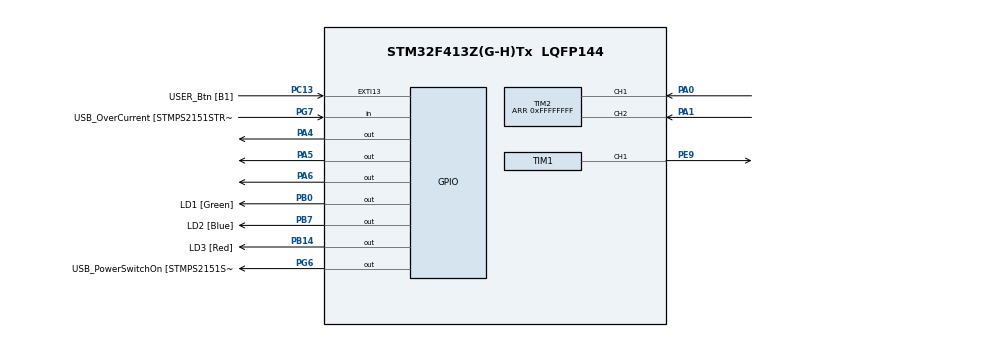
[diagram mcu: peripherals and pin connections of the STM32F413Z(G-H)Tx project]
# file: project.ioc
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Mcu.Family=STM32F4
Mcu.Name=STM32F413Z(G-H)Tx
Mcu.Package=LQFP144
NVIC.PriorityGroup=NVIC_PRIORITYGROUP_4
NVIC.TIM3_IRQn=true\:0\:0\:false\:false\:true\:true\:true
NVIC.TIM4_IRQn=true\:1\:0\:true\:false\:true\:true\:true
PA0.Signal=S_TIM2_CH1_ETR
PA1.Signal=S_TIM2_CH2
PA10.GPIO_Label=USB_ID
PA10.Signal=USB_OTG_FS_ID
PA11.GPIO_Label=USB_DM
PA11.Signal=USB_OTG_FS_DM
PA12.GPIO_Label=USB_DP
PA12.Signal=USB_OTG_FS_DP
PA13.GPIO_Label=TMS
PA13.Mode=Trace_Asynchronous_SW
PA13.Signal=SYS_JTMS-SWDIO
PA14.GPIO_Label=TCK
PA14.Mode=Trace_Asynchronous_SW
PA14.Signal=SYS_JTCK-SWCLK
PA4.Signal=GPIO_Output
PA5.Signal=GPIO_Output
PA6.Signal=GPIO_Output
PA8.GPIO_Label=USB_SOF [TP1]
PA8.Signal=USB_OTG_FS_SOF
PA9.GPIO_Label=USB_VBUS
PA9.Signal=USB_OTG_FS_VBUS
PB0.GPIO_Label=LD1 [Green]
PB0.Signal=GPIO_Output
PB14.GPIO_Label=LD3 [Red]
PB14.Signal=GPIO_Output
PB3.GPIO_Label=SWO
PB3.Mode=Trace_Asynchronous_SW
PB3.Signal=SYS_JTDO-SWO
PB7.GPIO_Label=LD2 [Blue]
PB7.Signal=GPIO_Output
PC13.GPIO_Label=USER_Btn [B1]
PC13.Signal=GPXTI13
PC14-OSC32_IN.Signal=RCC_OSC32_IN
PC15-OSC32_OUT.Signal=RCC_OSC32_OUT
PD8.GPIO_Label=STLK_RX [STM32F103CBT6_PA3]
PD8.Signal=USART3_TX
PD9.GPIO_Label=STLK_TX [STM32F103CBT6_PA2]
PD9.Signal=USART3_RX
PE9.Signal=S_TIM1_CH1
PG6.GPIO_Label=USB_PowerSwitchOn [STMPS2151STR_EN]
PG6.Signal=GPIO_Output
PG7.GPIO_Label=USB_OverCurrent [STMPS2151STR_FAULT]
PG7.Signal=GPIO_Input
PH0\ -\ OSC_IN.GPIO_Label=MCO
PH0\ -\ OSC_IN.Mode=HSE-External-Oscillator
PH0\ -\ OSC_IN.Signal=RCC_OSC_IN
PH1\ -\ OSC_OUT.Mode=HSE-External-Oscillator
PH1\ -\ OSC_OUT.Signal=RCC_OSC_OUT
ProjectManager.HeapSize=0x2000
ProjectManager.StackSize=0x4000
ProjectManager.TargetToolchain=EWARM V8.32
RCC.48MHZClocksFreq_Value=24000000
RCC.AHBFreq_Value=100000000
RCC.APB1CLKDivider=RCC_HCLK_DIV2
RCC.APB1Freq_Value=50000000
RCC.APB1TimFreq_Value=100000000
RCC.APB2Freq_Value=100000000
RCC.APB2TimFreq_Value=100000000
RCC.CortexFreq_Value=100000000
RCC.HCLKFreq_Value=100000000
RCC.HSE_VALUE=8000000
RCC.HSI_VALUE=16000000
RCC.PLLM=4
RCC.PLLMUL=RCC_PLL_MUL9
RCC.PLLN=100
RCC.PLLSourceVirtual=RCC_PLLSOURCE_HSE
RCC.PRESCALERUSB=RCC_USBCLKSOURCE_PLL_DIV1_5
RCC.SYSCLKFreq_VALUE=100000000
RCC.SYSCLKSource=RCC_SYSCLKSOURCE_PLLCLK
RCC.SYSCLKSourceVirtual=RCC_SYSCLKSOURCE_PLLCLK
RCC.USBFreq_Value=100000000
RCC.VCOOutputFreq_Value=200000000
SH.S_TIM1_CH1.0=TIM1_CH1,PWM Generation1 CH1
SH.S_TIM2_CH1_ETR.0=TIM2_CH1,Encoder_Interface
SH.S_TIM2_CH2.0=TIM2_CH2,Encoder_Interface
TIM1.Channel-PWM\ Generation1\ CH1=TIM_CHANNEL_1
TIM1.Period=9999
TIM1.Prescaler=199
TIM2.EncoderMode=TIM_ENCODERMODE_TI12
TIM2.IC1Polarity=TIM_ICPOLARITY_FALLING
TIM2.Period=0xFFFFFFFF
TIM3.AutoReloadPreload=TIM_AUTORELOAD_PRELOAD_ENABLE
TIM3.Period=99
TIM3.Prescaler=99
TIM4.AutoReloadPreload=TIM_AUTORELOAD_PRELOAD_ENABLE
TIM4.Period=99
TIM4.Prescaler=999
VP_TIM3_VS_ClockSourceINT.Mode=Internal
VP_TIM4_VS_ClockSourceINT.Mode=Internal
board=NUCLEO-F413ZH

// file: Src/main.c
/* USER CODE BEGIN Header */
/**
  ******************************************************************************
  * @file           : main.c
  * @brief          : Main program body
  ******************************************************************************
  * @attention
  *
  * <h2><center>&copy; Copyright (c) 2020 STMicroelectronics.
  * All rights reserved.</center></h2>
  *
  * This software component is licensed by ST under BSD 3-Clause license,
  * the "License"; You may not use this file except in compliance with the
  * License. You may obtain a copy of the License at:
  *                        opensource.org/licenses/BSD-3-Clause
  *
  ******************************************************************************
  */
/* USER CODE END Header */

#include "main.h"

/* USER CODE BEGIN PM */
#define INITIAL_ENCODER_COUNTER 0x8000
/* USER CODE END PM */

/* USER CODE BEGIN PV */
static int64_t ENCODER_VALUE = 0;
/* USER CODE END PV */

void SystemClock_Config(void);
static void MX_GPIO_Init(void);
static void MX_TIM1_Init(void);
static void MX_TIM2_Init(void);
static void MX_TIM3_Init(void);
static void MX_TIM4_Init(void);

int main(void)
{

  /* MCU Configuration--------------------------------------------------------*/

  /* Reset of all peripherals, Initializes the Flash interface and the Systick. */

  LL_APB2_GRP1_EnableClock(LL_APB2_GRP1_PERIPH_SYSCFG);
  LL_APB1_GRP1_EnableClock(LL_APB1_GRP1_PERIPH_PWR);

  NVIC_SetPriorityGrouping(NVIC_PRIORITYGROUP_4);

  /* System interrupt init*/

  /* Configure the system clock */
  SystemClock_Config();

  /* Initialize all configured peripherals */
  MX_GPIO_Init();
  MX_TIM1_Init();
  MX_TIM2_Init();
  MX_TIM3_Init();
  MX_TIM4_Init();

  /* Infinite loop */
  while (1)
  {

    /* USER CODE BEGIN 3 */
    LL_TIM_OC_SetCompareCH1(TIM1, 249);
    LL_mDelay(1000);
    LL_TIM_OC_SetCompareCH1(TIM1, 1199);
    LL_mDelay(1000);
  }
  /* USER CODE END 3 */
}

void SystemClock_Config(void)
{
  LL_FLASH_SetLatency(LL_FLASH_LATENCY_3);

  if(LL_FLASH_GetLatency() != LL_FLASH_LATENCY_3)
  {
  Error_Handler();
  }
  LL_PWR_SetRegulVoltageScaling(LL_PWR_REGU_VOLTAGE_SCALE1);
  LL_RCC_HSE_Enable();

   /* Wait till HSE is ready */
  while(LL_RCC_HSE_IsReady() != 1)
  {

  }
  LL_RCC_PLL_ConfigDomain_SYS(LL_RCC_PLLSOURCE_HSE, LL_RCC_PLLM_DIV_4, 100, LL_RCC_PLLP_DIV_2);
  LL_RCC_PLL_Enable();

   /* Wait till PLL is ready */
  while(LL_RCC_PLL_IsReady() != 1)
  {

  }
  LL_RCC_SetAHBPrescaler(LL_RCC_SYSCLK_DIV_1);
  LL_RCC_SetAPB1Prescaler(LL_RCC_APB1_DIV_2);
  LL_RCC_SetAPB2Prescaler(LL_RCC_APB2_DIV_1);
  LL_RCC_SetSysClkSource(LL_RCC_SYS_CLKSOURCE_PLL);

   /* Wait till System clock is ready */
  while(LL_RCC_GetSysClkSource() != LL_RCC_SYS_CLKSOURCE_STATUS_PLL)
  {

  }
  LL_Init1msTick(100000000);
  LL_SYSTICK_SetClkSource(LL_SYSTICK_CLKSOURCE_HCLK);
  LL_SetSystemCoreClock(100000000);
  LL_RCC_SetTIMPrescaler(LL_RCC_TIM_PRESCALER_TWICE);
}

static void MX_TIM1_Init(void)
{

  LL_TIM_InitTypeDef TIM_InitStruct = {0};
  LL_TIM_OC_InitTypeDef TIM_OC_InitStruct = {0};
  LL_TIM_BDTR_InitTypeDef TIM_BDTRInitStruct = {0};

  LL_GPIO_InitTypeDef GPIO_InitStruct = {0};

  /* Peripheral clock enable */
  LL_APB2_GRP1_EnableClock(LL_APB2_GRP1_PERIPH_TIM1);

  TIM_InitStruct.Prescaler = 199;
  TIM_InitStruct.CounterMode = LL_TIM_COUNTERMODE_UP;
  TIM_InitStruct.Autoreload = 9999;
  TIM_InitStruct.ClockDivision = LL_TIM_CLOCKDIVISION_DIV1;
  TIM_InitStruct.RepetitionCounter = 0;
  LL_TIM_Init(TIM1, &TIM_InitStruct);
  LL_TIM_DisableARRPreload(TIM1);
  LL_TIM_OC_EnablePreload(TIM1, LL_TIM_CHANNEL_CH1);
  TIM_OC_InitStruct.OCMode = LL_TIM_OCMODE_PWM1;
  TIM_OC_InitStruct.OCState = LL_TIM_OCSTATE_DISABLE;
  TIM_OC_InitStruct.OCNState = LL_TIM_OCSTATE_DISABLE;
  TIM_OC_InitStruct.CompareValue = 0;
  TIM_OC_InitStruct.OCPolarity = LL_TIM_OCPOLARITY_HIGH;
  TIM_OC_InitStruct.OCNPolarity = LL_TIM_OCPOLARITY_HIGH;
  TIM_OC_InitStruct.OCIdleState = LL_TIM_OCIDLESTATE_LOW;
  TIM_OC_InitStruct.OCNIdleState = LL_TIM_OCIDLESTATE_LOW;
  LL_TIM_OC_Init(TIM1, LL_TIM_CHANNEL_CH1, &TIM_OC_InitStruct);
  LL_TIM_OC_DisableFast(TIM1, LL_TIM_CHANNEL_CH1);
  LL_TIM_SetTriggerOutput(TIM1, LL_TIM_TRGO_RESET);
  LL_TIM_DisableMasterSlaveMode(TIM1);
  TIM_BDTRInitStruct.OSSRState = LL_TIM_OSSR_DISABLE;
  TIM_BDTRInitStruct.OSSIState = LL_TIM_OSSI_DISABLE;
  TIM_BDTRInitStruct.LockLevel = LL_TIM_LOCKLEVEL_OFF;
  TIM_BDTRInitStruct.DeadTime = 0;
  TIM_BDTRInitStruct.BreakState = LL_TIM_BREAK_DISABLE;
  TIM_BDTRInitStruct.BreakPolarity = LL_TIM_BREAK_POLARITY_HIGH;
  TIM_BDTRInitStruct.AutomaticOutput = LL_TIM_AUTOMATICOUTPUT_DISABLE;
  LL_TIM_BDTR_Init(TIM1, &TIM_BDTRInitStruct);
  /* USER CODE BEGIN TIM1_Init 2 */
  LL_TIM_CC_EnableChannel(TIM1, LL_TIM_CHANNEL_CH1);
  LL_TIM_EnableCounter(TIM1);
  LL_TIM_EnableAllOutputs(TIM1);
  /* USER CODE END TIM1_Init 2 */
  LL_AHB1_GRP1_EnableClock(LL_AHB1_GRP1_PERIPH_GPIOE);
  /**TIM1 GPIO Configuration
  PE9   ------> TIM1_CH1
  */
  GPIO_InitStruct.Pin = LL_GPIO_PIN_9;
  GPIO_InitStruct.Mode = LL_GPIO_MODE_ALTERNATE;
  GPIO_InitStruct.Speed = LL_GPIO_SPEED_FREQ_LOW;
  GPIO_InitStruct.OutputType = LL_GPIO_OUTPUT_PUSHPULL;
  GPIO_InitStruct.Pull = LL_GPIO_PULL_NO;
  GPIO_InitStruct.Alternate = LL_GPIO_AF_1;
  LL_GPIO_Init(GPIOE, &GPIO_InitStruct);

}

static void MX_TIM2_Init(void)
{

  LL_TIM_InitTypeDef TIM_InitStruct = {0};

  LL_GPIO_InitTypeDef GPIO_InitStruct = {0};

  /* Peripheral clock enable */
  LL_APB1_GRP1_EnableClock(LL_APB1_GRP1_PERIPH_TIM2);

  LL_AHB1_GRP1_EnableClock(LL_AHB1_GRP1_PERIPH_GPIOA);
  /**TIM2 GPIO Configuration
  PA0   ------> TIM2_CH1
  PA1   ------> TIM2_CH2
  */
  GPIO_InitStruct.Pin = LL_GPIO_PIN_0|LL_GPIO_PIN_1;
  GPIO_InitStruct.Mode = LL_GPIO_MODE_ALTERNATE;
  GPIO_InitStruct.Speed = LL_GPIO_SPEED_FREQ_LOW;
  GPIO_InitStruct.OutputType = LL_GPIO_OUTPUT_PUSHPULL;
  GPIO_InitStruct.Pull = LL_GPIO_PULL_NO;
  GPIO_InitStruct.Alternate = LL_GPIO_AF_1;
  LL_GPIO_Init(GPIOA, &GPIO_InitStruct);

  LL_TIM_SetEncoderMode(TIM2, LL_TIM_ENCODERMODE_X4_TI12);
  LL_TIM_IC_SetActiveInput(TIM2, LL_TIM_CHANNEL_CH1, LL_TIM_ACTIVEINPUT_DIRECTTI);
  LL_TIM_IC_SetPrescaler(TIM2, LL_TIM_CHANNEL_CH1, LL_TIM_ICPSC_DIV1);
  LL_TIM_IC_SetFilter(TIM2, LL_TIM_CHANNEL_CH1, LL_TIM_IC_FILTER_FDIV1);
  LL_TIM_IC_SetPolarity(TIM2, LL_TIM_CHANNEL_CH1, LL_TIM_IC_POLARITY_FALLING);
  LL_TIM_IC_SetActiveInput(TIM2, LL_TIM_CHANNEL_CH2, LL_TIM_ACTIVEINPUT_DIRECTTI);
  LL_TIM_IC_SetPrescaler(TIM2, LL_TIM_CHANNEL_CH2, LL_TIM_ICPSC_DIV1);
  LL_TIM_IC_SetFilter(TIM2, LL_TIM_CHANNEL_CH2, LL_TIM_IC_FILTER_FDIV1);
  LL_TIM_IC_SetPolarity(TIM2, LL_TIM_CHANNEL_CH2, LL_TIM_IC_POLARITY_RISING);
  TIM_InitStruct.Prescaler = 0;
  TIM_InitStruct.CounterMode = LL_TIM_COUNTERMODE_UP;
  TIM_InitStruct.Autoreload = 0xFFFFFFFF;
  TIM_InitStruct.ClockDivision = LL_TIM_CLOCKDIVISION_DIV1;
  LL_TIM_Init(TIM2, &TIM_InitStruct);
  LL_TIM_DisableARRPreload(TIM2);
  LL_TIM_SetTriggerOutput(TIM2, LL_TIM_TRGO_RESET);
  LL_TIM_DisableMasterSlaveMode(TIM2);
  /* USER CODE BEGIN TIM2_Init 2 */
  LL_TIM_SetCounter(TIM2, INITIAL_ENCODER_COUNTER);
  LL_TIM_EnableCounter(TIM2);
  /* USER CODE END TIM2_Init 2 */

}

static void MX_TIM3_Init(void)
{

  LL_TIM_InitTypeDef TIM_InitStruct = {0};

  /* Peripheral clock enable */
  LL_APB1_GRP1_EnableClock(LL_APB1_GRP1_PERIPH_TIM3);

  /* TIM3 interrupt Init */
  NVIC_SetPriority(TIM3_IRQn, NVIC_EncodePriority(NVIC_GetPriorityGrouping(),0, 0));
  NVIC_EnableIRQ(TIM3_IRQn);

  TIM_InitStruct.Prescaler = 99;
  TIM_InitStruct.CounterMode = LL_TIM_COUNTERMODE_UP;
  TIM_InitStruct.Autoreload = 99;
  TIM_InitStruct.ClockDivision = LL_TIM_CLOCKDIVISION_DIV1;
  LL_TIM_Init(TIM3, &TIM_InitStruct);
  LL_TIM_EnableARRPreload(TIM3);
  LL_TIM_SetClockSource(TIM3, LL_TIM_CLOCKSOURCE_INTERNAL);
  LL_TIM_SetTriggerOutput(TIM3, LL_TIM_TRGO_RESET);
  LL_TIM_DisableMasterSlaveMode(TIM3);
  /* USER CODE BEGIN TIM3_Init 2 */
  LL_TIM_EnableCounter(TIM3);
  LL_TIM_EnableIT_UPDATE(TIM3);
  /* USER CODE END TIM3_Init 2 */

}

static void MX_TIM4_Init(void)
{

  LL_TIM_InitTypeDef TIM_InitStruct = {0};

  /* Peripheral clock enable */
  LL_APB1_GRP1_EnableClock(LL_APB1_GRP1_PERIPH_TIM4);

  /* TIM4 interrupt Init */
  NVIC_SetPriority(TIM4_IRQn, NVIC_EncodePriority(NVIC_GetPriorityGrouping(),1, 0));
  NVIC_EnableIRQ(TIM4_IRQn);

  TIM_InitStruct.Prescaler = 999;
  TIM_InitStruct.CounterMode = LL_TIM_COUNTERMODE_UP;
  TIM_InitStruct.Autoreload = 99;
  TIM_InitStruct.ClockDivision = LL_TIM_CLOCKDIVISION_DIV1;
  LL_TIM_Init(TIM4, &TIM_InitStruct);
  LL_TIM_EnableARRPreload(TIM4);
  LL_TIM_SetClockSource(TIM4, LL_TIM_CLOCKSOURCE_INTERNAL);
  LL_TIM_SetTriggerOutput(TIM4, LL_TIM_TRGO_RESET);
  LL_TIM_DisableMasterSlaveMode(TIM4);
  /* USER CODE BEGIN TIM4_Init 2 */
  LL_TIM_EnableCounter(TIM4);
  LL_TIM_EnableIT_UPDATE(TIM4);
  /* USER CODE END TIM4_Init 2 */

}

static void MX_GPIO_Init(void)
{
  LL_EXTI_InitTypeDef EXTI_InitStruct = {0};
  LL_GPIO_InitTypeDef GPIO_InitStruct = {0};

  /* GPIO Ports Clock Enable */
  LL_AHB1_GRP1_EnableClock(LL_AHB1_GRP1_PERIPH_GPIOC);
  LL_AHB1_GRP1_EnableClock(LL_AHB1_GRP1_PERIPH_GPIOH);
  LL_AHB1_GRP1_EnableClock(LL_AHB1_GRP1_PERIPH_GPIOA);
  LL_AHB1_GRP1_EnableClock(LL_AHB1_GRP1_PERIPH_GPIOB);
  LL_AHB1_GRP1_EnableClock(LL_AHB1_GRP1_PERIPH_GPIOE);
  LL_AHB1_GRP1_EnableClock(LL_AHB1_GRP1_PERIPH_GPIOD);
  LL_AHB1_GRP1_EnableClock(LL_AHB1_GRP1_PERIPH_GPIOG);

  /**/
  LL_GPIO_ResetOutputPin(GPIOA, LL_GPIO_PIN_4|LL_GPIO_PIN_5|LL_GPIO_PIN_6);

  /**/
  LL_GPIO_ResetOutputPin(GPIOB, LD1_Pin|LD3_Pin|LD2_Pin);

  /**/
  LL_GPIO_ResetOutputPin(USB_PowerSwitchOn_GPIO_Port, USB_PowerSwitchOn_Pin);

  /**/
  LL_SYSCFG_SetEXTISource(LL_SYSCFG_EXTI_PORTC, LL_SYSCFG_EXTI_LINE13);

  /**/
  EXTI_InitStruct.Line_0_31 = LL_EXTI_LINE_13;
  EXTI_InitStruct.LineCommand = ENABLE;
  EXTI_InitStruct.Mode = LL_EXTI_MODE_IT;
  EXTI_InitStruct.Trigger = LL_EXTI_TRIGGER_RISING;
  LL_EXTI_Init(&EXTI_InitStruct);

  /**/
  LL_GPIO_SetPinPull(USER_Btn_GPIO_Port, USER_Btn_Pin, LL_GPIO_PULL_NO);

  /**/
  LL_GPIO_SetPinMode(USER_Btn_GPIO_Port, USER_Btn_Pin, LL_GPIO_MODE_INPUT);

  /**/
  GPIO_InitStruct.Pin = LL_GPIO_PIN_4|LL_GPIO_PIN_5|LL_GPIO_PIN_6;
  GPIO_InitStruct.Mode = LL_GPIO_MODE_OUTPUT;
  GPIO_InitStruct.Speed = LL_GPIO_SPEED_FREQ_LOW;
  GPIO_InitStruct.OutputType = LL_GPIO_OUTPUT_PUSHPULL;
  GPIO_InitStruct.Pull = LL_GPIO_PULL_NO;
  LL_GPIO_Init(GPIOA, &GPIO_InitStruct);

  /**/
  GPIO_InitStruct.Pin = LD1_Pin|LD3_Pin|LD2_Pin;
  GPIO_InitStruct.Mode = LL_GPIO_MODE_OUTPUT;
  GPIO_InitStruct.Speed = LL_GPIO_SPEED_FREQ_LOW;
  GPIO_InitStruct.OutputType = LL_GPIO_OUTPUT_PUSHPULL;
  GPIO_InitStruct.Pull = LL_GPIO_PULL_NO;
  LL_GPIO_Init(GPIOB, &GPIO_InitStruct);

  /**/
  GPIO_InitStruct.Pin = STLK_RX_Pin|STLK_TX_Pin;
  GPIO_InitStruct.Mode = LL_GPIO_MODE_ALTERNATE;
  GPIO_InitStruct.Speed = LL_GPIO_SPEED_FREQ_VERY_HIGH;
  GPIO_InitStruct.OutputType = LL_GPIO_OUTPUT_PUSHPULL;
  GPIO_InitStruct.Pull = LL_GPIO_PULL_NO;
  GPIO_InitStruct.Alternate = LL_GPIO_AF_7;
  LL_GPIO_Init(GPIOD, &GPIO_InitStruct);

  /**/
  GPIO_InitStruct.Pin = USB_PowerSwitchOn_Pin;
  GPIO_InitStruct.Mode = LL_GPIO_MODE_OUTPUT;
  GPIO_InitStruct.Speed = LL_GPIO_SPEED_FREQ_LOW;
  GPIO_InitStruct.OutputType = LL_GPIO_OUTPUT_PUSHPULL;
  GPIO_InitStruct.Pull = LL_GPIO_PULL_NO;
  LL_GPIO_Init(USB_PowerSwitchOn_GPIO_Port, &GPIO_InitStruct);

  /**/
  GPIO_InitStruct.Pin = USB_OverCurrent_Pin;
  GPIO_InitStruct.Mode = LL_GPIO_MODE_INPUT;
  GPIO_InitStruct.Pull = LL_GPIO_PULL_NO;
  LL_GPIO_Init(USB_OverCurrent_GPIO_Port, &GPIO_InitStruct);

  /**/
  GPIO_InitStruct.Pin = USB_SOF_Pin|USB_ID_Pin|USB_DM_Pin|USB_DP_Pin;
  GPIO_InitStruct.Mode = LL_GPIO_MODE_ALTERNATE;
  GPIO_InitStruct.Speed = LL_GPIO_SPEED_FREQ_VERY_HIGH;
  GPIO_InitStruct.OutputType = LL_GPIO_OUTPUT_PUSHPULL;
  GPIO_InitStruct.Pull = LL_GPIO_PULL_NO;
  GPIO_InitStruct.Alternate = LL_GPIO_AF_10;
  LL_GPIO_Init(GPIOA, &GPIO_InitStruct);

}

/* USER CODE BEGIN 4 */
void TIM3_10KHz_Handler(void) {
  LL_GPIO_TogglePin(GPIOA, LL_GPIO_PIN_4);
  static uint32_t pre_counter = INITIAL_ENCODER_COUNTER;
  uint32_t cnt = LL_TIM_GetCounter(TIM2);
  ENCODER_VALUE += cnt - pre_counter;
  pre_counter = cnt;
}

void TIM4_RotaryEncoder_Handler(void) {
  static int i = 0;
  i = (i + 1) % 4;
  switch(i) {
  case 0:
    LL_GPIO_SetOutputPin(GPIOA, LL_GPIO_PIN_5);
    break;
  case 1:
    LL_GPIO_SetOutputPin(GPIOA, LL_GPIO_PIN_6);
    break;
  case 2:
    LL_GPIO_ResetOutputPin(GPIOA, LL_GPIO_PIN_5);
    break;
  case 3:
    LL_GPIO_ResetOutputPin(GPIOA, LL_GPIO_PIN_6);
    break;
  }
}
/* USER CODE END 4 */

void Error_Handler(void)
{
}

/************************ (C) COPYRIGHT STMicroelectronics *****END OF FILE****/
